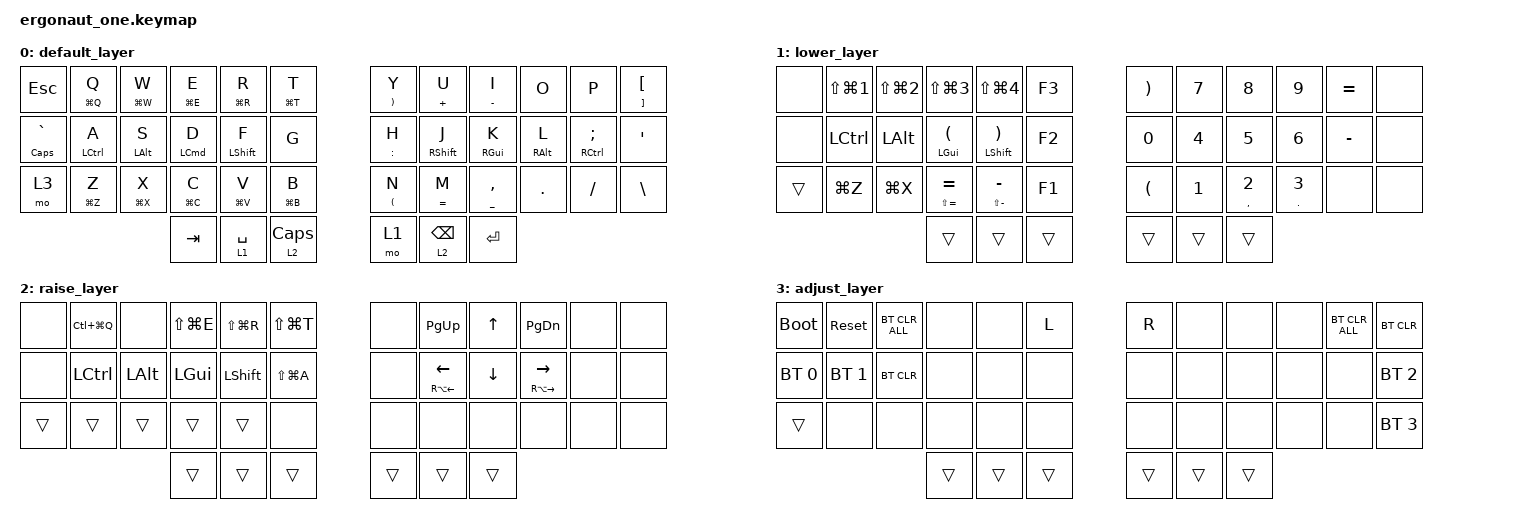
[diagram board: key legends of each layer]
#include <behaviors.dtsi>
#include <dt-bindings/zmk/bt.h>
#include <dt-bindings/zmk/keys.h>

#define DEF 0
#define LWR 1
#define RSE 2
#define ADJ 3

&lt { quick-tap-ms = <200>; };

&mt {
    quick-tap-ms = <100>;
    flavor = "tap-preferred";
    tapping-term-ms = <150>;
};

/ {
    conditional_layers {
        compatible = "zmk,conditional-layers";

        tri-layer {
            if-layers = <1 2>;
            then-layer = <3>;
        };
    };

    keymap {
        compatible = "zmk,keymap";

        default_layer {
            bindings = <
&kp ESC             &mt LG(Q) Q  &mt LG(W) W     &mt LG(E) E  &mt LG(R) R       &mt LG(T) T  &mt RIGHT_PARENTHESIS Y  &mt PLUS U         &mt MINUS I           &kp O            &kp P           &mt RBKT LBKT
&mt CAPSLOCK GRAVE  &mt LCTRL A  &mt LEFT_ALT S  &mt LCMD D   &mt LEFT_SHIFT F  &kp G        &mt COLON H              &mt RIGHT_SHIFT J  &mt RIGHT_GUI K       &mt RIGHT_ALT L  &mt RCTRL SEMI  &kp SQT
&mo 3               &mt LG(Z) Z  &mt LG(X) X     &mt LG(C) C  &mt LG(V) V       &mt LG(B) B  &mt LEFT_PARENTHESIS N   &mt EQUAL M        &mt UNDERSCORE COMMA  &kp DOT          &kp FSLH        &kp BACKSLASH
                                                 &kp TAB      &lt 1 SPACE       &lt 2 CAPS   &mo 1                    &lt 2 BACKSPACE    &kp ENTER
            >;
        };

        lower_layer {
            bindings = <
&none   &kp LS(LG(NUMBER_1))  &kp LS(LG(NUMBER_2))  &kp LS(LG(NUMBER_3))           &kp LS(LG(NUMBER_4))              &kp F3  &kp RIGHT_PARENTHESIS  &kp N7        &kp N8              &kp N9            &kp EQUAL  &none
&none   &kp LEFT_CONTROL      &kp LEFT_ALT          &mt LEFT_GUI LEFT_PARENTHESIS  &mt LEFT_SHIFT RIGHT_PARENTHESIS  &kp F2  &kp N0                 &kp NUMBER_4  &kp N5              &kp NUMBER_6      &kp MINUS  &none
&trans  &kp LG(Z)             &kp LG(X)             &mt LS(EQUAL) EQUAL            &mt LS(MINUS) MINUS               &kp F1  &kp LEFT_PARENTHESIS   &kp NUMBER_1  &mt COMMA NUMBER_2  &mt DOT NUMBER_3  &none      &none
                                                    &trans                         &trans                            &trans  &trans                 &trans        &trans
            >;
        };

        raise_layer {
            bindings = <
&none   &kp LC(LG(Q))  &none         &kp LS(LG(E))  &kp LS(LG(R))   &kp LS(LG(T))  &none   &kp PG_UP          &kp UP_ARROW  &kp PAGE_DOWN        &none  &none
&none   &kp LCTRL      &kp LEFT_ALT  &kp LEFT_GUI   &kp LEFT_SHIFT  &kp LS(LG(A))  &none   &mt RA(LEFT) LEFT  &kp DOWN      &mt RA(RIGHT) RIGHT  &none  &none
&trans  &trans         &trans        &trans         &trans          &none          &none   &none              &none         &none                &none  &none
                                     &trans         &trans          &trans         &trans  &trans             &trans
            >;
        };

        adjust_layer {
            bindings = <
&bootloader   &sys_reset    &bt BT_CLR_ALL  &none   &none   &kp L   &kp R   &none   &none   &none  &bt BT_CLR_ALL  &bt BT_CLR
&bt BT_SEL 0  &bt BT_SEL 1  &bt BT_CLR      &none   &none   &none   &none   &none   &none   &none  &none           &bt BT_SEL 2
&trans        &none         &none           &none   &none   &none   &none   &none   &none   &none  &none           &bt BT_SEL 3
                                            &trans  &trans  &trans  &trans  &trans  &trans
            >;
        };
    };
};
